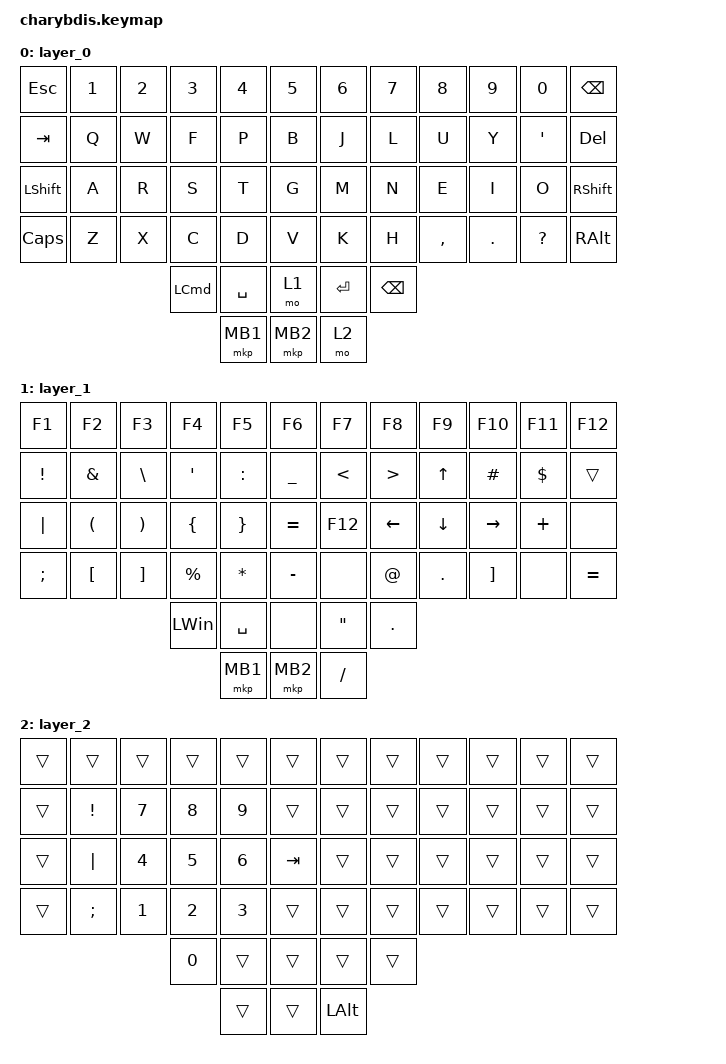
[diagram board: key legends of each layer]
#include <dt-bindings/zmk/mouse.h>
#include <behaviors.dtsi>
#include <dt-bindings/zmk/keys.h>
#include <dt-bindings/zmk/pointing.h>

&lt {
    tapping-term-ms = <200>;
    flavor = "balanced";
    quick-tap-ms = <150>;
};

/ {
    keymap {
        compatible = "zmk,keymap";

        layer_0 {
            bindings = <
&kp ESC         &kp N1  &kp N2  &kp N3            &kp N4     &kp N5      &kp N6     &kp N7         &kp N8     &kp N9   &kp N0            &kp BACKSPACE
&kp TAB         &kp Q   &kp W   &kp F             &kp P      &kp B       &kp J      &kp L          &kp U      &kp Y    &kp SINGLE_QUOTE  &kp DEL
&kp LEFT_SHIFT  &kp A   &kp R   &kp S             &kp T      &kp G       &kp M      &kp N          &kp E      &kp I    &kp O             &kp RIGHT_SHIFT
&kp CAPSLOCK    &kp Z   &kp X   &kp C             &kp D      &kp V       &kp K      &kp H          &kp COMMA  &kp DOT  &kp QUESTION      &kp RIGHT_ALT
                                &kp LEFT_COMMAND  &kp SPACE  &mo 1       &kp ENTER  &kp BACKSPACE
                                                  &mkp MB1   &mkp MB2    &mo 2
            >;

            trackball-bindings = <&tmv_coarse>;
        };

        layer_1 {
            bindings = <
&kp F1           &kp F2                &kp F3                 &kp F4          &kp F5           &kp F6            &kp F7             &kp F8            &kp F9      &kp F10            &kp F11     &kp F12
&kp EXCLAMATION  &kp AMPERSAND         &kp BACKSLASH          &kp SQT         &kp COLON        &kp UNDERSCORE    &kp LESS_THAN      &kp GREATER_THAN  &kp UP      &kp HASH           &kp DOLLAR  &trans
&kp PIPE         &kp LEFT_PARENTHESIS  &kp RIGHT_PARENTHESIS  &kp LEFT_BRACE  &kp RIGHT_BRACE  &kp EQUAL         &kp F12            &kp LEFT          &kp DOWN    &kp RIGHT          &kp PLUS    &none
&kp SEMICOLON    &kp LEFT_BRACKET      &kp RIGHT_BRACKET      &kp PERCENT     &kp ASTERISK     &kp MINUS         &none              &kp AT_SIGN       &kp PERIOD  &kp RIGHT_BRACKET  &none       &kp EQUAL
                                                              &kp LEFT_WIN    &kp SPACE        &none             &kp DOUBLE_QUOTES  &kp PERIOD
                                                                              &mkp MB1         &mkp MB2          &kp SLASH
            >;

            trackball-bindings = <&tsl>;
        };

        layer_2 {
            bindings = <
&trans  &trans           &trans        &trans        &trans        &trans     &trans        &trans  &trans  &trans  &trans  &trans
&trans  &kp EXCLAMATION  &kp NUMBER_7  &kp NUMBER_8  &kp NUMBER_9  &trans     &trans        &trans  &trans  &trans  &trans  &trans
&trans  &kp PIPE         &kp NUMBER_4  &kp NUMBER_5  &kp NUMBER_6  &kp TAB    &trans        &trans  &trans  &trans  &trans  &trans
&trans  &kp SEMICOLON    &kp NUMBER_1  &kp NUMBER_2  &kp NUMBER_3  &trans     &trans        &trans  &trans  &trans  &trans  &trans
                                       &kp N0        &trans        &trans     &trans        &trans
                                                     &trans        &trans     &kp LEFT_ALT
            >;
        };

        /* layer_2 {
            bindings = <
&none  &none   &none    &none   &none         &none         &kp N1         &none         &none     &none  &none   &to 0
&none  &none   &none    &none   &none         &none         &none         &none          &rgb_ug RGB_BRD &rgb_ug RGB_BRI  &rgb_ug RGB_EFF   &rgb_ug RGB_TOG
&none  &none   &none    &none   &none         &none         &none         &mkp LCLK     &mkp RCLK  &none  &none   &none
&none  &none   &none    &none   &bt BT_NXT  &bt BT_CLR    &none         &none         &none     &none  &none   &none
                                   &none         &none         &none         &none         &none
                                                 &none         &none         &none
            >;
          trackball-bindings = <&tsl>;
            
        };

       Mouse {
            bindings = <
&none        &none         &none         &none         &none      &none         &none       &none      &none         &none         &none         &none
&none        &bt BT_SEL 0  &bt BT_SEL 1  &bt BT_SEL 3  &none      &bt BT_CLR    &bt BT_CLR  &none      &bt BT_SEL 2  &bt BT_SEL 1  &bt BT_SEL 0  &none
&none        &trans        &trans        &mkp MCLK     &trans     &none         &none       &trans     &mkp MCLK     &trans        &trans        &none
&bootloader  &trans        &mkp RCLK     &mo 4         &mkp LCLK  &mo 5         &mo 5       &mkp LCLK  &mo 4         &mkp RCLK     &trans        &bootloader
                                         &mo 5         &mkp LCLK  &mkp RCLK     &mkp RCLK   &mkp LCLK
                                                       &none      &trans        &trans
            >;

            
        };

        layer_4 {
            bindings = <
&trans  &trans  &trans     &trans     &trans     &trans       &trans     &trans     &trans     &trans     &trans  &trans
&trans  &trans  &trans     &trans     &trans     &trans       &trans     &trans     &trans     &trans     &trans  &trans
&trans  &trans  &trans     &mkp MCLK  &trans     &trans       &trans     &trans     &mkp MCLK  &trans     &trans  &trans
&trans  &trans  &mkp RCLK  &trans     &mkp LCLK  &trans       &trans     &mkp LCLK  &trans     &mkp RCLK  &trans  &trans
                           &trans     &mkp LCLK  &mkp RCLK    &mkp RCLK  &mkp LCLK
                                      &trans     &trans       &trans
            >;
                
                
                trackball-bindings = <&tsl>;
        };

        layer_5 {
            bindings = <
&trans  &trans  &trans     &trans     &trans     &trans       &trans     &trans     &trans     &trans     &trans  &trans
&trans  &trans  &trans     &trans     &trans     &trans       &trans     &trans     &trans     &trans     &trans  &trans
&trans  &trans  &trans     &mkp MCLK  &trans     &trans       &trans     &trans     &mkp MCLK  &trans     &trans  &trans
&trans  &trans  &mkp RCLK  &trans     &mkp LCLK  &trans       &trans     &mkp LCLK  &trans     &mkp RCLK  &trans  &trans
                           &trans     &mkp LCLK  &mkp RCLK    &mkp RCLK  &mkp LCLK
                                      &trans     &trans       &trans
            >;
                trackball-bindings = <&tmv_fine>;
                
        };*/
    };
};
